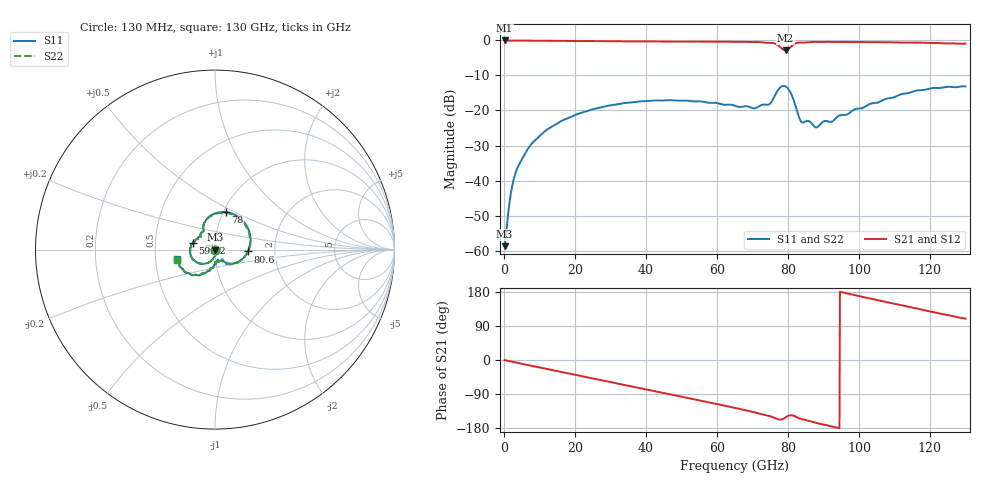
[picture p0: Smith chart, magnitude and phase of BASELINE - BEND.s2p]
! TOUCHSTONE file generated by CST MICROWAVE STUDIO
! Date and time: Mon Nov 23 09:26:36 2026
! Project name: BASELINE - BEND.cst
! Parameters = {BEND_RADIUS=0.1025; BOX_H=0.0047; CAP_H=0.0014; CAP_W=0.002; CLAD_H=0.0036; DEV_L=0.72; DEV_W=0.9; EL_L=0.02; EL_L2=0.02; EL_L3=1.44; GAP=0.00445; GAP2=0.0048; ISTANBUL_V1=0; L1=0.02; L2=0.066; L_OFF=0.04; MTX=0.002; N_CELL=-0.888889; N_CELL2=-0.888889; N_CELL3=7; PITCH=0.18; SI_H=0.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
! Header version: 2024
! Port assignment regex: !\s*Touchstone port\s*([0-9]+)\s*=\s*(CST MWS port|CST DES external port|CST DES block port)\s*(.+)\s* \(\"(.*)\"\)(\s*mode\s*([0-9]+))?.*
! Touchstone port assignment:
! Touchstone port 1 = CST MWS port 1 ("")
! Touchstone port 2 = CST MWS port 2 ("")
# GHz S MA R 50
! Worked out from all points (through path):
!   1000 points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, 130 MHz to 130 GHz, reference 50 ohm
!   highest |S21| = -0.02 dB at 130 MHz (marker M1); lowest = -2.8 dB at 79.3 GHz (marker M2)
!   group delay of S21, straight-line fit = 5.32 ps
!   lowest |S11| = -58.7 dB at 130 MHz (marker M3), VSWR 1.00, Z = 50.1 - j0.0216 ohm
!   |S11| at or under -10 dB: start of sweep to end of sweep
!   |S22| runs from -58.7 to -13.1 dB; largest |S21 - S12| = 1.6e-06
!   S11 on the Smith chart (normalised r, x): 130 MHz: 1.00, -0.00; 59.02 GHz: 0.78, +0.06; 78 GHz: 1.02, +0.45; 80.6 GHz: 1.45, -0.03; 130 GHz: 0.64, -0.07
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0.13  0.001157 -10.7  0.9981 -0.3  0.9981 -0.3  0.001158 -10.7
1.69  0.005643 -53.7  0.997 -3.5  0.997 -3.5  0.005646 -53.7
2.6  0.009958 -64.6  0.9955 -5.3  0.9955 -5.3  0.009963 -64.5
6.24  0.02594 -84.4  0.9923 -12.5  0.9923 -12.5  0.02596 -84.2
12.09  0.05325 -101.9  0.9869 -23.9  0.9869 -23.9  0.0533 -101.7
21.84  0.09273 -124.1  0.9786 -42.8  0.9786 -42.8  0.09282 -123.6
32.89  0.1253 -146.3  0.9707 -64.0  0.9707 -64.0  0.1255 -145.6
43.42  0.1388 -167.7  0.9628 -84.2  0.9628 -84.2  0.139 -166.8
59.02  0.1287 162.5  0.9588 -114.4  0.9588 -114.4  0.1289 163.8
65.13  0.1164 148.3  0.9525 -126.6  0.9525 -126.6  0.1163 149.9
74.49  0.1213 121.0  0.9225 -147.2  0.9225 -147.2  0.1197 122.4
76.44  0.1679 108.7  0.8971 -153.9  0.8971 -153.9  0.1657 109.5
78  0.2169 74.3  0.7861 -157.3  0.7861 -157.3  0.213 74.2
79.3  0.2206 36.5  0.7212 -151.5  0.7212 -151.5  0.2159 35.6
80.6  0.1848 -3.1  0.7902 -145.7  0.7902 -145.7  0.1812 -4.9
83.59  0.07088 -53.6  0.9313 -155.3  0.9313 -155.3  0.07029 -58.1
86.71  0.06498 -75.3  0.9514 -162.8  0.9514 -162.8  0.06545 -79.8
88.14  0.05752 -75.1  0.9485 -166.6  0.9485 -166.6  0.05771 -79.7
95.94  0.08631 -94.6  0.9536 177.0  0.9536 177.0  0.08645 -97.1
108.42  0.1491 -116.7  0.9416 151.6  0.9416 151.6  0.1486 -117.4
118.3  0.1962 -138.1  0.9255 131.5  0.9255 131.5  0.1962 -137.9
130  0.2207 -165.9  0.8989 109.1  0.8989 109.1  0.2206 -165.1
